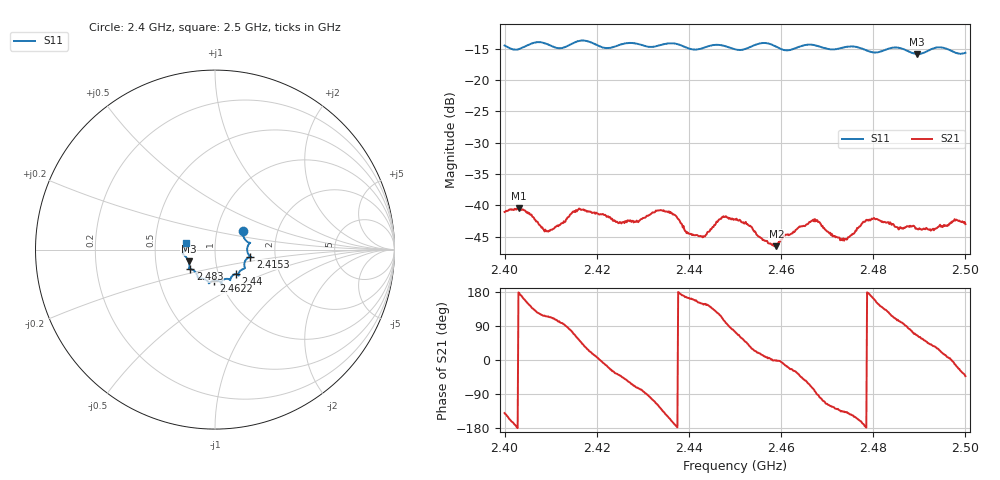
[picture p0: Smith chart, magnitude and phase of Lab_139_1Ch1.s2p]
# Hz S RI R 50
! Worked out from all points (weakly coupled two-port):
!   601 points, 2.4 GHz to 2.5 GHz, reference 50 ohm
!   highest |S21| = -40.49 dB at 2.4032 GHz (marker M1); lowest = -46.5 dB at 2.459 GHz (marker M2)
!   lowest |S11| = -15.9 dB at 2.4895 GHz (marker M3), VSWR 1.38, Z = 37 - j5.01 ohm
!   |S11| at or under -10 dB: start of sweep to end of sweep
!   S12 and S22 are empty: the file has one direction only
!   S11 on the Smith chart (normalised r, x): 2.4 GHz: 1.33, +0.29; 2.4153 GHz: 1.48, -0.12; 2.44 GHz: 1.21, -0.34; 2.4622 GHz: 0.93, -0.33; 2.483 GHz: 0.74, -0.17; 2.5 GHz: 0.72, +0.06
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2.4e9  0.1551 0.1063  -0.00678 -0.00568  0 0  0 0
2.403167e9  0.1666 0.0576  -0.00944 0.00053  0 0  0 0
2.409167e9  0.1907 0.0328  -0.00265 0.00566  0 0  0 0
2.415333e9  0.1962 -0.039  0.00376 0.00799  0 0  0 0
2.416667e9  0.2015 -0.0429  0.00639 0.00661  0 0  0 0
2.425167e9  0.1652 -0.0966  0.00545 -0.00484  0 0  0 0
2.433333e9  0.1312 -0.1339  -0.00451 -0.00788  0 0  0 0
2.436833e9  0.132 -0.1437  -0.00827 -0.00153  0 0  0 0
2.44e9  0.1142 -0.1368  -0.00572 0.00166  0 0  0 0
2.443167e9  0.0887 -0.1566  -0.00471 0.00315  0 0  0 0
2.447e9  0.0843 -0.1693  -0.00328 0.00708  0 0  0 0
2.45e9  0.0648 -0.1631  0.00214 0.00741  0 0  0 0
2.459e9  0.0305 -0.1808  0.00472 -5.55e-05  0 0  0 0
2.462167e9  -0.00744 -0.1738  0.00543 -0.00238  0 0  0 0
2.466667e9  -0.0342 -0.1876  0.0023 -0.00718  0 0  0 0
2.473333e9  -0.0826 -0.1603  -0.00376 -0.00368  0 0  0 0
2.478333e9  -0.1002 -0.1411  -0.0075 -0.000526  0 0  0 0
2.483e9  -0.1375 -0.1094  -0.0046 0.00564  0 0  0 0
2.483333e9  -0.1399 -0.1092  -0.0043 0.00592  0 0  0 0
2.4895e9  -0.1462 -0.066  0.00273 0.00589  0 0  0 0
2.494167e9  -0.1805 -0.0225  0.0059 0.00323  0 0  0 0
2.5e9  -0.1598 0.0393  0.0052 -0.0048  0 0  0 0
